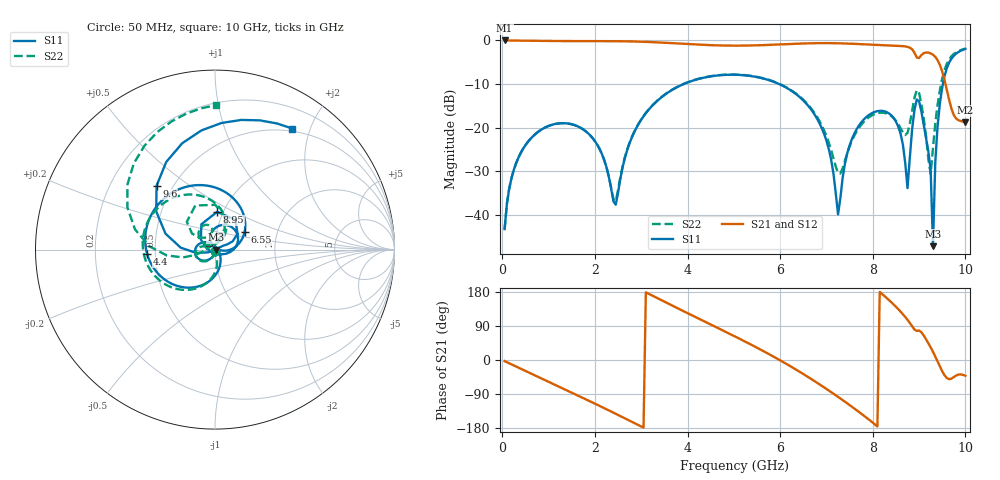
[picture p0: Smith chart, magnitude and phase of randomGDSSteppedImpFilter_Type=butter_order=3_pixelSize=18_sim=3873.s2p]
! freq	dB(S11)	phase(S11)	dB(S12)	phase(S12)
!  dB(S21)	phase(S21)	dB(S22)	phase(S22)
!S-par simulation data
#  GHz  S  DB  R 50
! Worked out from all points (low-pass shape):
!   200 points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, 50 MHz to 10 GHz, reference 50 ohm
!   highest |S21| = -0.01 dB at 50 MHz (marker M1); lowest = -18.8 dB at 10 GHz (marker M2)
!   |S21| within 3 dB of the highest: start of sweep to 8.909 GHz; 9.09 GHz to 9.257 GHz (166.9 MHz wide, 1.82 % of centre)
!   lowest |S11| = -47.1 dB at 9.3 GHz (marker M3), VSWR 1.01, Z = 50.4 + j0.0134 ohm
!   |S11| at or under -10 dB: start of sweep to 3.915 GHz; 5.98 GHz to 9.515 GHz (3.534 GHz wide, 45.6 % of centre)
!   |S22| runs from -43.2 to -1.9 dB; largest |S21 - S12| = 0
!   S11 on the Smith chart (normalised r, x): 50 MHz: 1.00, -0.01; 4.4 GHz: 0.45, -0.02; 6.55 GHz: 1.36, +0.28; 8.95 GHz: 0.94, +0.41; 9.6 GHz: 0.41, +0.38; 10 GHz: 0.46, +1.73
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0.05  -43.23 -90.1  -0.01 -2.9  -0.01 -2.9  -43.23 -89.7
0.55  -23.28 -123.5  -0.06 -31.7  -0.06 -31.7  -23.27 -120.6
1.75  -20.40 161.7  -0.16 -100.6  -0.16 -100.6  -20.41 176.0
2.45  -37.64 22.7  -0.17 -141.9  -0.17 -141.9  -36.78 -127.2
2.8  -22.17 -66.9  -0.23 -163.2  -0.23 -163.2  -22.06 -81.9
3.4  -13.34 -111.3  -0.47 160.0  -0.47 160.0  -13.29 -110.1
4.4  -8.42 -176.4  -1.05 99.7  -1.05 99.7  -8.38 -164.5
5.05  -7.87 141.4  -1.19 60.6  -1.19 60.6  -7.82 160.3
5.9  -9.64 81.9  -0.96 6.0  -0.96 6.0  -9.58 112.4
6.55  -14.31 31.0  -0.68 -40.8  -0.68 -40.8  -14.13 74.4
6.7  -16.29 18.8  -0.64 -52.4  -0.64 -52.4  -16.01 66.3
7.05  -24.86 -6.2  -0.62 -80.5  -0.62 -80.5  -23.39 56.8
7.25  -39.86 47.6  -0.65 -97.2  -0.65 -97.2  -30.34 92.1
7.6  -21.38 105.5  -0.78 -127.8  -0.78 -127.8  -21.84 149.3
8.35  -16.72 28.7  -1.14 158.1  -1.14 158.1  -16.98 105.0
8.75  -33.84 -107.5  -1.47 106.1  -1.47 106.1  -21.19 130.9
8.95  -13.53 86.8  -3.92 76.7  -3.92 76.7  -11.40 114.1
9.25  -29.72 25.6  -2.96 33.3  -2.96 33.3  -30.61 140.3
9.3  -47.14 1.7  -3.27 21.7  -3.27 21.7  -24.64 -173.9
9.4  -19.54 -169.8  -4.52 -3.9  -4.52 -3.9  -14.75 -166.3
9.6  -6.33 132.5  -11.35 -47.7  -11.35 -47.7  -5.32 154.2
10  -1.94 57.4  -18.78 -41.6  -18.78 -41.6  -1.88 89.7
